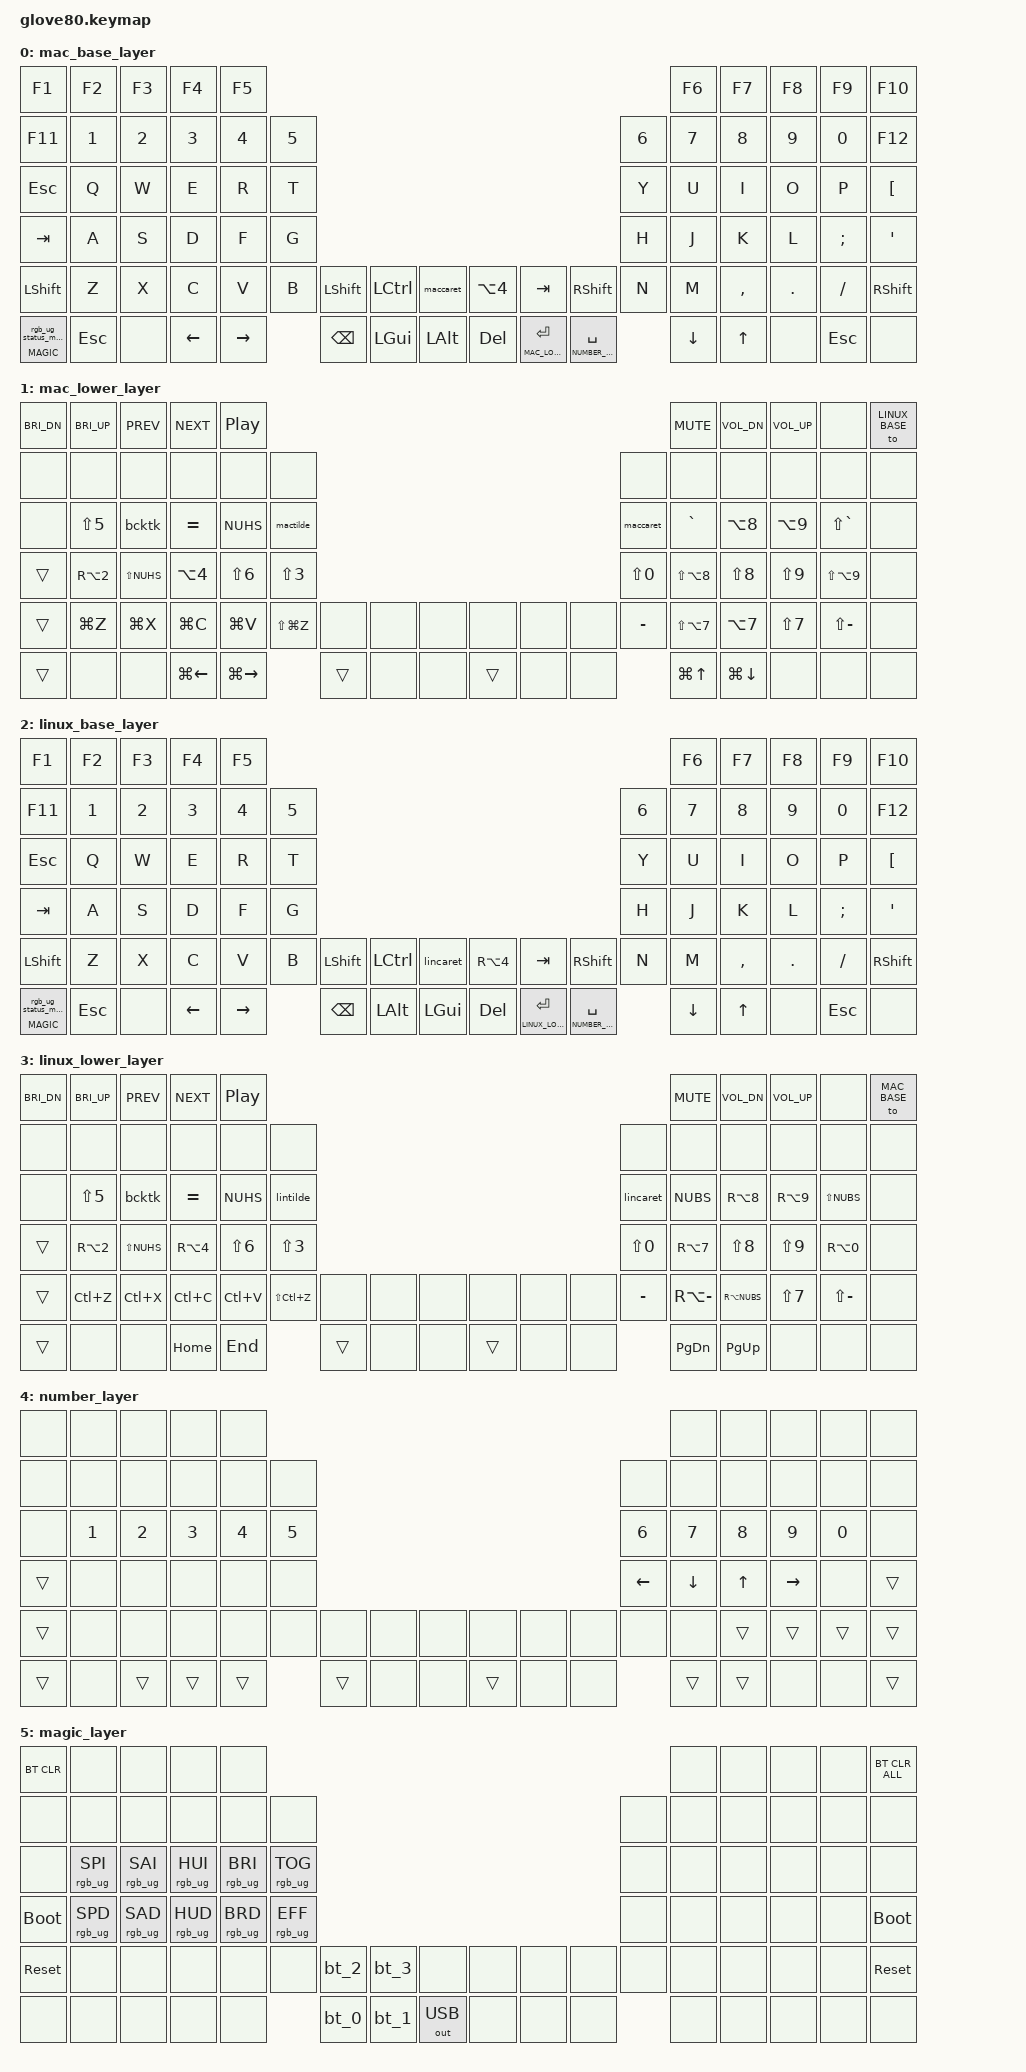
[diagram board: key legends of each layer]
/*
* Copyright (c) 2020 The ZMK Contributors
*
* SPDX-License-Identifier: MIT
*/

#include <behaviors.dtsi>
#include <dt-bindings/zmk/keys.h>
#include <dt-bindings/zmk/bt.h>
#include <dt-bindings/zmk/ext_power.h>
#include <dt-bindings/zmk/outputs.h>
#include <dt-bindings/zmk/rgb.h>

#define HYPER LC(LS(LG(LALT)))

// layers
#define MAC_BASE 0
#define MAC_LOWER 1
#define LINUX_BASE 2
#define LINUX_LOWER 3
#define NUMBER_NAV 4
#define MAGIC 5

// MacOS X specific keycodes

// Number row
#define MAC_BANG LS(N1)
#define MAC_QUOTE LS(N2)
#define MAC_AT RA(N2)
#define MAC_BRKT LS(N3)
#define MAC_DOLLAR LA(N4)
#define MAC_PERC LS(N5)
#define MAC_AMPER LS(N6)
#define MAC_SLASH LS(N7)
#define MAC_LPAR LS(N8)
#define MAC_RPAR LS(N9)
#define MAC_EQUAL LS(N0)
#define MAC_PLUS MINUS
#define MAC_LBRKT LA(N8)
#define MAC_RBRKT LA(N9)
#define MAC_LBRC LS(LA(N8))
#define MAC_RBRC LS(LA(N9))

// Other keys
#define MAC_APOS NUHS
#define MAC_STAR LS(NUHS)
#define MAC_LTHAN GRAVE
#define MAC_GTHAN LS(GRAVE)
#define MAC_PIPE LA(N7)
#define MAC_BSLASH LS(LA(N7))
#define MAC_QMARK LS(MINUS)
#define MAC_MINUS SLASH
#define MAC_TILDE LA(RBKT)
#define MAC_FTICK EQUAL
#define MAC_DOTS RBKT
#define MAC_CARET LS(RBKT)

// MAC combos
#define MAC_UNDO LG(Z)
#define MAC_CUT LG(X)
#define MAC_COPY LG(C)
#define MAC_PASTE LG(V)
#define MAC_REDO LS(LG(Z))
#define MAC_SELECT_ALL LG(A)
#define MAC_PG_UP LG(UP)
#define MAC_PG_DN LG(DOWN)
#define MAC_HOME LG(LEFT)
#define MAC_END LG(RIGHT)

//Swedish specific keys
#define SWE_AU LBKT
#define SWE_AE SQT
#define SWE_OE SEMI

// Navigation
#define MAC_WORD_L LA(LEFT)
#define MAC_WORD_R LA(RIGHT)



// Linux specific keycodes

//Number row
#define LIN_BANG LS(N1)
#define LIN_QUOTE LS(N2)
#define LIN_AT RA(N2)
#define LIN_BRKT LS(N3)
#define LIN_DOLLAR RA(N4)
#define LIN_PERC LS(N5)
#define LIN_AMPER LS(N6)
#define LIN_SLASH LS(N7)
#define LIN_LBRC RA(N7)
#define LIN_RBRC RA(N0)
#define LIN_LPAR LS(N8)
#define LIN_RPAR LS(N9)
#define LIN_LBRKT RA(N8)
#define LIN_RBRKT RA(N9)
#define LIN_EQUAL LS(N0)
#define LIN_PLUS MINUS
#define LIN_BSLASH RA(MINUS)
#define LIN_QMARK LS(MINUS)

//Other keys
#define LIN_STAR LS(NUHS)
#define LIN_APOS NUHS
#define LIN_CARET LS(RBKT)
#define LIN_FTICK EQUAL
#define LIN_MINUS SLASH
#define LIN_LOW_DASH LS(SLASH)
#define LIN_LTHAN NUBS
#define LIN_GTHAN LS(NUBS)
#define LIN_PIPE RA(NUBS)
#define LIN_TILDE RA(RBKT)

// combos
#define LIN_CUT LC(X)
#define LIN_COPY LC(C)
#define LIN_PASTE LC(V)
#define LIN_UNDO LC(Z)
#define LIN_REDO LS(LC(Z))
#define LIN_SELECT_ALL LC(A)

/ {
	behaviors {
		magic: magic_hold_tap {
			compatible = "zmk,behavior-hold-tap";
			label = "MAGIC_HOLD_TAP";
			#binding-cells = <2>;
			flavor = "tap-preferred";
			tapping-term-ms = <200>;
			bindings = <&mo>, <&rgb_ug_status_macro>;
		};
	};
	macros {
		bcktk: backtick {
			label = "BACKTICK";
			compatible = "zmk,behavior-macro";
			#binding-cells = <0>;
			wait-ms = <10>;
			bindings =
			<&macro_press &kp LSHFT>,
			<&macro_tap &kp EQUAL>,
			<&macro_release &kp LSHFT>,
			<&macro_tap &kp SPACE>;
		};
	
    mactilde: mac_tilde_macro {
			label = "MAC_TILDE_MACRO";
			compatible = "zmk,behavior-macro";
			#binding-cells = <0>;
			wait-ms = <10>;
			bindings =
			<&macro_tap &kp MAC_TILDE>,
			<&macro_tap &kp SPACE>;
		};
		
    lintilde: lin_tilde_macro {
			label = "LIN_TILDE_MACRO";
			compatible = "zmk,behavior-macro";
			#binding-cells = <0>;
			wait-ms = <10>;
			bindings =
			<&macro_tap &kp LIN_TILDE>,
			<&macro_tap &kp SPACE>;
		};
		
    maccaret: mac_caret_macro {
			label = "MAC_CARET_MACRO";
			compatible = "zmk,behavior-macro";
			#binding-cells = <0>;
			wait-ms = <10>;
			bindings =
			<&macro_tap &kp MAC_CARET>,
			<&macro_tap &kp SPACE>;
		};
		
    lincaret: lin_caret_macro {
			label = "LIN_CARET_MACRO";
			compatible = "zmk,behavior-macro";
			#binding-cells = <0>;
			wait-ms = <10>;
			bindings =
			<&macro_tap &kp LIN_CARET>,
			<&macro_tap &kp SPACE>;
		};    

    tilde: tilde_macro {
			label = "TILDE";
			compatible = "zmk,behavior-macro";
			#binding-cells = <0>;
			wait-ms = <10>;
			bindings =
			<&macro_press &kp LSHFT>,
			<&macro_tap &kp NUBS>,
			<&macro_release &kp LSHFT>,
			<&macro_tap &kp SPACE>;
		};
		
		bcktk3: triple_backtick {
			label = "TRIPLE_BACKTICK";
			compatible = "zmk,behavior-macro";
			#binding-cells = <0>;
			wait-ms = <10>;
			bindings =
			<&macro_press &kp LSHFT>,
			<&macro_tap &kp EQUAL>,
			<&macro_tap &kp EQUAL>,
			<&macro_tap &kp EQUAL>,
			<&macro_release &kp LSHFT>,
			<&macro_tap &kp SPACE>;
		};
		rgb_ug_status_macro: rgb_ug_status_macro_0 {
			label = "RGB_UG_STATUS";
			compatible = "zmk,behavior-macro";
			#binding-cells = <0>;
			bindings
			= <&rgb_ug RGB_STATUS>;
		};
		
		bt_0: bt_profile_macro_0 {
			label = "BT_0";
			compatible = "zmk,behavior-macro";
			#binding-cells = <0>;
			bindings
			= <&out OUT_BLE>,
			<&bt BT_SEL 0>;
		};
		
		bt_1: bt_profile_macro_1 {
			label = "BT_1";
			compatible = "zmk,behavior-macro";
			#binding-cells = <0>;
			bindings
			= <&out OUT_BLE>,
			<&bt BT_SEL 1>;
		};
		
		bt_2: bt_profile_macro_2 {
			label = "BT_2";
			compatible = "zmk,behavior-macro";
			#binding-cells = <0>;
			bindings
			= <&out OUT_BLE>,
			<&bt BT_SEL 2>;
		};
		
		bt_3: bt_profile_macro_3 {
			label = "BT_3";
			compatible = "zmk,behavior-macro";
			#binding-cells = <0>;
			bindings
			= <&out OUT_BLE>,
			<&bt BT_SEL 3>;
		};
	};
	
	keymap {
		compatible = "zmk,keymap";
		mac_base_layer {
			bindings = <
			&kp F1            &kp F2              &kp F3          &kp F4          &kp F5                                                                                                                                      &kp F6         &kp F7          &kp F8          &kp F9         &kp F10
			&kp F11           &kp N1              &kp N2          &kp N3          &kp N4          &kp N5                                                                                                        &kp N6        &kp N7         &kp N8          &kp N9          &kp N0         &kp F12
			&kp ESC           &kp Q               &kp W           &kp E           &kp R           &kp T                                                                                                         &kp Y         &kp U          &kp I           &kp O           &kp P          &kp SWE_AU
			&kp TAB           &kp A               &kp S           &kp D           &kp F           &kp G                                                                                                         &kp H         &kp J          &kp K           &kp L           &kp SWE_OE     &kp SWE_AE
			&kp LSHFT         &kp Z               &kp X           &kp C           &kp V           &kp B           &kp LSHFT      &kp LCTRL     &maccaret     &kp MAC_DOLLAR &kp TAB               &kp RSHFT     &kp N         &kp M          &kp COMMA       &kp DOT         &kp MAC_MINUS  &kp RSHFT
			&magic MAGIC 0    &kp ESC             &none           &kp LEFT        &kp RIGHT                       &kp BSPC       &kp LGUI      &kp LALT      &kp DEL        &lt MAC_LOWER ENTER   &lt NUMBER_NAV SPACE        &kp DOWN       &kp UP          &none           &kp ESC        &none
			>;
		};
		
		mac_lower_layer {
			bindings = <
			&kp C_BRI_DN      &kp C_BRI_UP        &kp C_PREV      &kp C_NEXT      &kp C_PP                                                                                                                                &kp C_MUTE     &kp C_VOL_DN    &kp C_VOL_UP    &none           &to LINUX_BASE
			&none             &none               &none           &none           &none           &none                                                                                                     &none         &none          &none           &none           &none           &none
			&none             &kp MAC_PERC        &bcktk          &kp MAC_FTICK   &kp MAC_APOS    &mactilde                                                                                                 &maccaret     &kp MAC_LTHAN  &kp MAC_LBRKT   &kp MAC_RBRKT   &kp MAC_GTHAN   &none
			&trans            &kp MAC_AT          &kp MAC_STAR    &kp MAC_DOLLAR  &kp MAC_AMPER   &kp MAC_BRKT                                                                                              &kp MAC_EQUAL &kp MAC_LBRC   &kp MAC_LPAR    &kp MAC_RPAR    &kp MAC_RBRC    &none
			&trans            &kp MAC_UNDO        &kp MAC_CUT     &kp MAC_COPY    &kp MAC_PASTE   &kp MAC_REDO    &none         &none         &none          &none        &none                &none        &kp MAC_PLUS  &kp MAC_BSLASH &kp MAC_PIPE    &kp MAC_SLASH   &kp MAC_QMARK   &none
			&trans            &none               &none           &kp MAC_HOME    &kp MAC_END                     &trans        &none         &none          &trans       &none                &none                      &kp MAC_PG_UP  &kp MAC_PG_DN   &none           &none           &none
			>;
		};
		
		linux_base_layer {
			bindings = <
			&kp F1            &kp F2              &kp F3          &kp F4          &kp F5                                                                                                                                  &kp F6         &kp F7          &kp F8          &kp F9          &kp F10
			&kp F11           &kp N1              &kp N2          &kp N3          &kp N4          &kp N5                                                                                                    &kp N6        &kp N7         &kp N8          &kp N9          &kp N0          &kp F12
			&kp ESC           &kp Q               &kp W           &kp E           &kp R           &kp T                                                                                                     &kp Y         &kp U          &kp I           &kp O           &kp P           &kp SWE_AU
			&kp TAB           &kp A               &kp S           &kp D           &kp F           &kp G                                                                                                     &kp H         &kp J          &kp K           &kp L           &kp SWE_OE      &kp SWE_AE
			&kp LSHFT         &kp Z               &kp X           &kp C           &kp V           &kp B           &kp LSHFT      &kp LCTRL   &lincaret     &kp LIN_DOLLAR &kp TAB               &kp RSHFT   &kp N         &kp M          &kp COMMA       &kp DOT         &kp LIN_MINUS   &kp RSHFT
			&magic MAGIC 0    &kp ESC             &none           &kp LEFT        &kp RIGHT                       &kp BSPC       &kp LALT    &kp LGUI      &kp DEL        &lt LINUX_LOWER ENTER &lt NUMBER_NAV SPACE      &kp DOWN       &kp UP          &none           &kp ESC         &none
			>;
		};
		
		linux_lower_layer {
			bindings = <
			&kp C_BRI_DN      &kp C_BRI_UP        &kp C_PREV      &kp C_NEXT      &kp C_PP                                                                                                                                &kp C_MUTE     &kp C_VOL_DN    &kp C_VOL_UP    &none           &to MAC_BASE
			&none             &none               &none           &none           &none           &none                                                                                                     &none         &none          &none           &none           &none           &none
			&none             &kp LIN_PERC        &bcktk          &kp LIN_FTICK   &kp LIN_APOS    &lintilde                                                                                                 &lincaret     &kp LIN_LTHAN  &kp LIN_LBRKT   &kp LIN_RBRKT   &kp LIN_GTHAN   &none
			&trans            &kp LIN_AT          &kp LIN_STAR    &kp LIN_DOLLAR  &kp LIN_AMPER   &kp LIN_BRKT                                                                                              &kp LIN_EQUAL &kp LIN_LBRC   &kp LIN_LPAR    &kp LIN_RPAR    &kp LIN_RBRC    &none
			&trans            &kp LIN_UNDO        &kp LIN_CUT     &kp LIN_COPY    &kp LIN_PASTE   &kp LIN_REDO    &none         &none         &none          &none        &none                 &none       &kp LIN_PLUS  &kp LIN_BSLASH &kp LIN_PIPE    &kp LIN_SLASH   &kp LIN_QMARK   &none
			&trans            &none               &none           &kp HOME        &kp END                         &trans        &none         &none          &trans       &none                 &none                     &kp PG_DN      &kp PG_UP       &none           &none           &none
			>;
		};
	
    number_layer {
      bindings = <
      &none             &none               &none           &none           &none                                                                                                                                   &none          &none           &none           &none           &none
      &none             &none               &none           &none           &none           &none                                                                                                     &none         &none          &none           &none           &none           &none
      &none             &kp N1              &kp N2          &kp N3          &kp N4          &kp N5                                                                                                    &kp N6        &kp N7         &kp N8          &kp N9          &kp N0          &none
      &trans            &none               &none           &none           &none           &none                                                                                                     &kp LEFT      &kp DOWN       &kp UP          &kp RIGHT       &none           &trans
      &trans            &none               &none           &none           &none           &none           &none         &none         &none          &none        &none                 &none       &none         &none          &trans          &trans          &trans          &trans
      &trans            &none               &trans          &trans          &trans                          &trans        &none         &none          &trans       &none                 &none                     &trans         &trans          &none           &none           &trans
			>;
    };
		
    magic_layer {
			bindings = <
			&bt BT_CLR        &none               &none           &none           &none                                                                                                                                   &none          &none           &none           &none           &bt BT_CLR_ALL
			&none             &none               &none           &none           &none           &none                                                                                                     &none         &none          &none           &none           &none           &none
			&none             &rgb_ug RGB_SPI     &rgb_ug RGB_SAI &rgb_ug RGB_HUI &rgb_ug RGB_BRI &rgb_ug RGB_TOG                                                                                           &none         &none          &none           &none           &none           &none
			&bootloader       &rgb_ug RGB_SPD     &rgb_ug RGB_SAD &rgb_ug RGB_HUD &rgb_ug RGB_BRD &rgb_ug RGB_EFF                                                                                           &none         &none          &none           &none           &none           &bootloader
			&sys_reset        &none               &none           &none           &none           &none           &bt_2         &bt_3         &none          &none        &none                 &none       &none         &none          &none           &none           &none           &sys_reset
			&none             &none               &none           &none           &none                           &bt_0         &bt_1         &out OUT_USB   &none        &none                 &none                     &none          &none           &none           &none           &none
			>;
		};
	};
};
